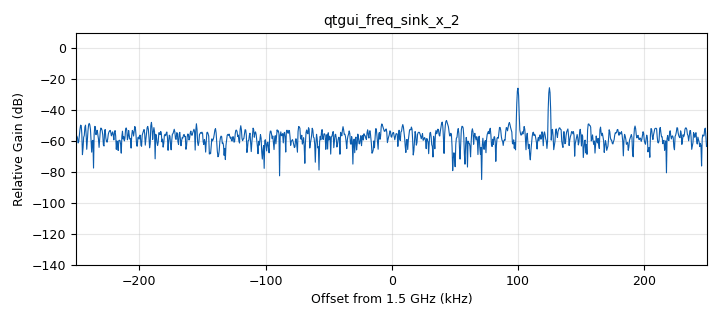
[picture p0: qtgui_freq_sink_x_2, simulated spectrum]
<?xml version='1.0' encoding='utf-8'?>
<?grc format='1' created='3.7.13'?>
<flow_graph>
<block>
<key>options</key>
<param><key>id</key><value>top_block</value></param>
<param><key>generate_options</key><value>qt_gui</value></param>
</block>
<block>
<key>variable_qtgui_range</key>
<param><key>id</key><value>noise_ampl</value></param>
<param><key>value</key><value>0.1</value></param>
<param><key>gui_hint</key><value>1,0,1,2</value></param>
<param><key>label</key><value>Noise Amplitude</value></param>
<param><key>orient</key><value>Qt.Horizontal</value></param>
<param><key>start</key><value>0</value></param>
<param><key>step</key><value>.001</value></param>
<param><key>stop</key><value>1</value></param>
</block>
<block>
<key>variable_qtgui_range</key>
<param><key>id</key><value>tone1</value></param>
<param><key>value</key><value>samp_rate/4</value></param>
<param><key>gui_hint</key><value>0,0,1,2</value></param>
<param><key>label</key><value>Tone 1</value></param>
<param><key>orient</key><value>Qt.Horizontal</value></param>
<param><key>start</key><value>-samp_rate/2</value></param>
<param><key>step</key><value>1</value></param>
<param><key>stop</key><value>samp_rate/2</value></param>
</block>
<block>
<key>variable_qtgui_range</key>
<param><key>id</key><value>tone2</value></param>
<param><key>value</key><value>samp_rate/5</value></param>
<param><key>gui_hint</key><value>0,2,1,2</value></param>
<param><key>label</key><value>Tone 2</value></param>
<param><key>orient</key><value>Qt.Horizontal</value></param>
<param><key>start</key><value>-samp_rate/2</value></param>
<param><key>step</key><value>1</value></param>
<param><key>stop</key><value>samp_rate/2</value></param>
</block>
<block>
<key>variable_qtgui_range</key>
<param><key>id</key><value>tone_ampl</value></param>
<param><key>value</key><value>0.15</value></param>
<param><key>gui_hint</key><value>1,2,1,2</value></param>
<param><key>label</key><value>Tone Amplitude</value></param>
<param><key>orient</key><value>Qt.Horizontal</value></param>
<param><key>start</key><value>0</value></param>
<param><key>step</key><value>.001</value></param>
<param><key>stop</key><value>1</value></param>
</block>
<block>
<key>variable_qtgui_range</key>
<param><key>id</key><value>tun_freq</value></param>
<param><key>value</key><value>1.5e9</value></param>
<param><key>gui_hint</key><value>3,0,1,4</value></param>
<param><key>label</key><value>UHD Freq (Hz)</value></param>
<param><key>orient</key><value>Qt.Horizontal</value></param>
<param><key>start</key><value>1.3e9</value></param>
<param><key>step</key><value>1</value></param>
<param><key>stop</key><value>1.8e9</value></param>
</block>
<block>
<key>variable_qtgui_range</key>
<param><key>id</key><value>tun_rx_gain</value></param>
<param><key>value</key><value>0</value></param>
<param><key>gui_hint</key><value>4,2,1,2</value></param>
<param><key>label</key><value>UHD Rx Gain</value></param>
<param><key>orient</key><value>Qt.Horizontal</value></param>
<param><key>start</key><value>0</value></param>
<param><key>step</key><value>1</value></param>
<param><key>stop</key><value>50</value></param>
</block>
<block>
<key>variable_qtgui_range</key>
<param><key>id</key><value>tun_tx_gain</value></param>
<param><key>value</key><value>0</value></param>
<param><key>gui_hint</key><value>4,0,1,2</value></param>
<param><key>label</key><value>UHD Tx Gain</value></param>
<param><key>orient</key><value>Qt.Horizontal</value></param>
<param><key>start</key><value>0</value></param>
<param><key>step</key><value>1</value></param>
<param><key>stop</key><value>30</value></param>
</block>
<block>
<key>parameter</key>
<param><key>id</key><value>address0</value></param>
<param><key>label</key><value>IP Address, Dev 0</value></param>
<param><key>type</key><value>string</value></param>
<param><key>value</key><value>serial=3136C69</value></param>
</block>
<block>
<key>parameter</key>
<param><key>id</key><value>address1</value></param>
<param><key>label</key><value>IP Address, Dev 1</value></param>
<param><key>type</key><value>string</value></param>
<param><key>value</key><value>serial=3136C6D</value></param>
</block>
<block>
<key>analog_noise_source_x</key>
<param><key>id</key><value>analog_noise_source_x_0</value></param>
<param><key>amp</key><value>noise_ampl</value></param>
<param><key>noise_type</key><value>analog.GR_GAUSSIAN</value></param>
<param><key>type</key><value>complex</value></param>
<param><key>seed</key><value>-42</value></param>
</block>
<block>
<key>analog_sig_source_x</key>
<param><key>id</key><value>analog_sig_source_x_0_0</value></param>
<param><key>amp</key><value>tone_ampl</value></param>
<param><key>freq</key><value>tone1</value></param>
<param><key>offset</key><value>0</value></param>
<param><key>type</key><value>complex</value></param>
<param><key>samp_rate</key><value>samp_rate</value></param>
<param><key>waveform</key><value>analog.GR_COS_WAVE</value></param>
</block>
<block>
<key>analog_sig_source_x</key>
<param><key>id</key><value>analog_sig_source_x_1</value></param>
<param><key>amp</key><value>tone_ampl</value></param>
<param><key>freq</key><value>tone2</value></param>
<param><key>offset</key><value>0</value></param>
<param><key>type</key><value>complex</value></param>
<param><key>samp_rate</key><value>samp_rate</value></param>
<param><key>waveform</key><value>analog.GR_COS_WAVE</value></param>
</block>
<block>
<key>blocks_add_xx</key>
<param><key>id</key><value>blocks_add_xx</value></param>
<param><key>type</key><value>complex</value></param>
<param><key>num_inputs</key><value>3</value></param>
</block>
<block>
<key>parameter</key>
<param><key>id</key><value>freq</value></param>
<param><key>label</key><value>Default Frequency</value></param>
<param><key>short_id</key><value>f</value></param>
<param><key>type</key><value>eng_float</value></param>
<param><key>value</key><value>1.8e9</value></param>
</block>
<block>
<key>parameter</key>
<param><key>id</key><value>freq_offset</value></param>
<param><key>label</key><value>Rx Frequency Offset</value></param>
<param><key>short_id</key><value>o</value></param>
<param><key>type</key><value>eng_float</value></param>
<param><key>value</key><value>0</value></param>
</block>
<block>
<key>limesdr_sink</key>
<param><key>id</key><value>limesdr_sink_0</value></param>
<param><key>calibr_bandw_ch0</key><value>5e6</value></param>
<param><key>digital_bandw_ch0</key><value>0</value></param>
<param><key>gain_dB_ch0</key><value>30</value></param>
<param><key>calibr_bandw_ch1</key><value>5e6</value></param>
<param><key>digital_bandw_ch1</key><value>0</value></param>
<param><key>gain_dB_ch1</key><value>30</value></param>
<param><key>pa_path_ch1</key><value>1</value></param>
<param><key>channel_mode</key><value>0</value></param>
<param><key>oversample</key><value>0</value></param>
<param><key>rf_freq</key><value>freq</value></param>
<param><key>samp_rate</key><value>samp_rate</value></param>
</block>
<block>
<key>limesdr_source</key>
<param><key>id</key><value>limesdr_source_0</value></param>
<param><key>analog_bandw_ch0</key><value>5e6</value></param>
<param><key>calibr_bandw_ch0</key><value>5e6</value></param>
<param><key>digital_bandw_ch0</key><value>0</value></param>
<param><key>gain_dB_ch0</key><value>30</value></param>
<param><key>analog_bandw_ch1</key><value>5e6</value></param>
<param><key>calibr_bandw_ch1</key><value>5e6</value></param>
<param><key>digital_bandw_ch1</key><value>0</value></param>
<param><key>gain_dB_ch1</key><value>30</value></param>
<param><key>channel_mode</key><value>0</value></param>
<param><key>oversample</key><value>0</value></param>
<param><key>rf_freq</key><value>freq</value></param>
<param><key>samp_rate</key><value>samp_rate</value></param>
</block>
<block>
<key>qtgui_freq_sink_x</key>
<param><key>id</key><value>qtgui_freq_sink_x_0</value></param>
<param><key>bw</key><value>samp_rate</value></param>
<param><key>fc</key><value>0</value></param>
<param><key>fftsize</key><value>1024</value></param>
<param><key>gui_hint</key><value>2,0,1,4</value></param>
<param><key>legend</key><value>False</value></param>
<param><key>showports</key><value>True</value></param>
<param><key>type</key><value>complex</value></param>
<param><key>update_time</key><value>0.05</value></param>
<param><key>wintype</key><value>firdes.WIN_HAMMING</value></param>
</block>
<block>
<key>qtgui_freq_sink_x</key>
<param><key>id</key><value>qtgui_freq_sink_x_2</value></param>
<param><key>bw</key><value>samp_rate</value></param>
<param><key>fc</key><value>tun_freq</value></param>
<param><key>fftsize</key><value>1024</value></param>
<param><key>showports</key><value>True</value></param>
<param><key>type</key><value>complex</value></param>
<param><key>wintype</key><value>firdes.WIN_BLACKMAN_hARRIS</value></param>
</block>
<block>
<key>parameter</key>
<param><key>id</key><value>samp_rate</value></param>
<param><key>label</key><value>Sample Rate</value></param>
<param><key>short_id</key><value>s</value></param>
<param><key>type</key><value>eng_float</value></param>
<param><key>value</key><value>500e3</value></param>
</block>
<connection><source_block_id>analog_noise_source_x_0</source_block_id><sink_block_id>blocks_add_xx</sink_block_id><source_key>0</source_key><sink_key>2</sink_key></connection>
<connection><source_block_id>analog_sig_source_x_0_0</source_block_id><sink_block_id>blocks_add_xx</sink_block_id><source_key>0</source_key><sink_key>0</sink_key></connection>
<connection><source_block_id>analog_sig_source_x_1</source_block_id><sink_block_id>blocks_add_xx</sink_block_id><source_key>0</source_key><sink_key>1</sink_key></connection>
<connection><source_block_id>blocks_add_xx</source_block_id><sink_block_id>limesdr_sink_0</sink_block_id><source_key>0</source_key><sink_key>0</sink_key></connection>
<connection><source_block_id>blocks_add_xx</source_block_id><sink_block_id>qtgui_freq_sink_x_2</sink_block_id><source_key>0</source_key><sink_key>0</sink_key></connection>
<connection><source_block_id>limesdr_source_0</source_block_id><sink_block_id>qtgui_freq_sink_x_0</sink_block_id><source_key>0</source_key><sink_key>0</sink_key></connection>
</flow_graph>
